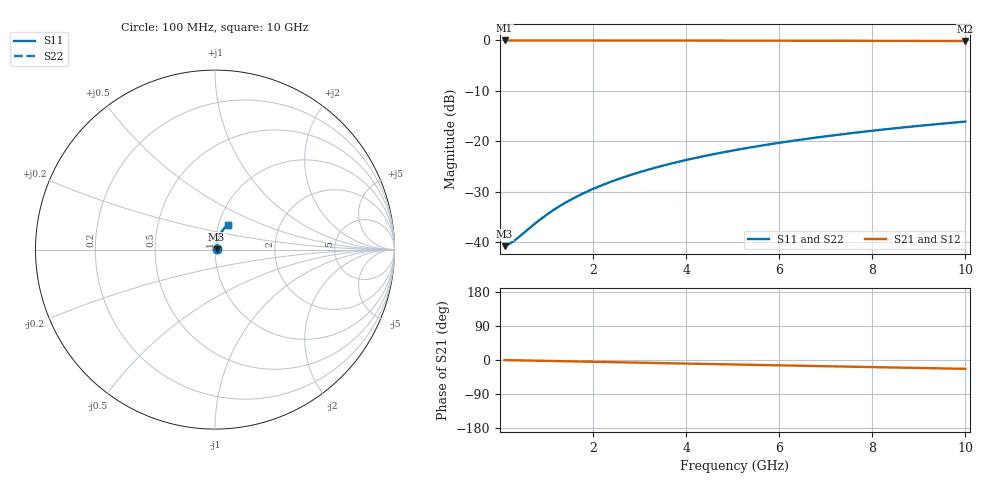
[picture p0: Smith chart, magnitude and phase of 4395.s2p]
# Hz S RI R 50.00
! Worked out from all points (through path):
!   100 points, 100 MHz to 10 GHz, reference 50 ohm
!   highest |S21| = -0.08 dB at 100 MHz (marker M1); lowest = -0.2 dB at 10 GHz (marker M2)
!   group delay of S21, straight-line fit = 6.49 ps
!   lowest |S11| = -40.8 dB at 100 MHz (marker M3), VSWR 1.02, Z = 50.9 + j0.161 ohm
!   |S11| at or under -10 dB: start of sweep to end of sweep
!   |S22| runs from -40.8 to -16.1 dB; largest |S21 - S12| = 0
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1e8  0.00897 0.00158  0.991 -0.00407  0.991 -0.00407  0.00897 0.00158
2e8  0.00905 0.00316  0.9909 -0.00813  0.9909 -0.00813  0.00905 0.00316
3e8  0.00912 0.00473  0.9908 -0.0122  0.9908 -0.0122  0.00912 0.00473
4e8  0.0092 0.00631  0.9907 -0.0163  0.9907 -0.0163  0.0092 0.00631
8e8  0.00961 0.0126  0.9902 -0.0325  0.9902 -0.0325  0.00961 0.0126
1.1e9  0.01 0.0173  0.9896 -0.0447  0.9896 -0.0447  0.01 0.0173
1.4e9  0.0106 0.022  0.9888 -0.0568  0.9888 -0.0568  0.0106 0.022
1.6e9  0.011 0.0251  0.9882 -0.0649  0.9882 -0.0649  0.011 0.0251
1.8e9  0.0114 0.0283  0.9875 -0.073  0.9875 -0.073  0.0114 0.0283
2.1e9  0.0122 0.0329  0.9863 -0.0852  0.9863 -0.0852  0.0122 0.0329
2.5e9  0.0135 0.0391  0.9845 -0.1013  0.9845 -0.1013  0.0135 0.0391
2.9e9  0.0149 0.0452  0.9824 -0.1174  0.9824 -0.1174  0.0149 0.0452
3.4e9  0.0169 0.0528  0.9794 -0.1374  0.9794 -0.1374  0.0169 0.0528
3.8e9  0.0188 0.0588  0.9766 -0.1533  0.9766 -0.1533  0.0188 0.0588
4.2e9  0.0209 0.0647  0.9735 -0.1692  0.9735 -0.1692  0.0209 0.0647
4.6e9  0.0231 0.0706  0.9702 -0.185  0.9702 -0.185  0.0231 0.0706
5.1e9  0.0262 0.0778  0.9656 -0.2046  0.9656 -0.2046  0.0262 0.0778
5.9e9  0.0317 0.089  0.9573 -0.2357  0.9573 -0.2357  0.0317 0.089
6.7e9  0.038 0.0998  0.9479 -0.2664  0.9479 -0.2664  0.038 0.0998
7.5e9  0.0449 0.1102  0.9374 -0.2966  0.9374 -0.2966  0.0449 0.1102
8.4e9  0.0534 0.1213  0.9243 -0.3299  0.9243 -0.3299  0.0534 0.1213
1e10  0.0704 0.1392  0.898 -0.3874  0.898 -0.3874  0.0704 0.1392
